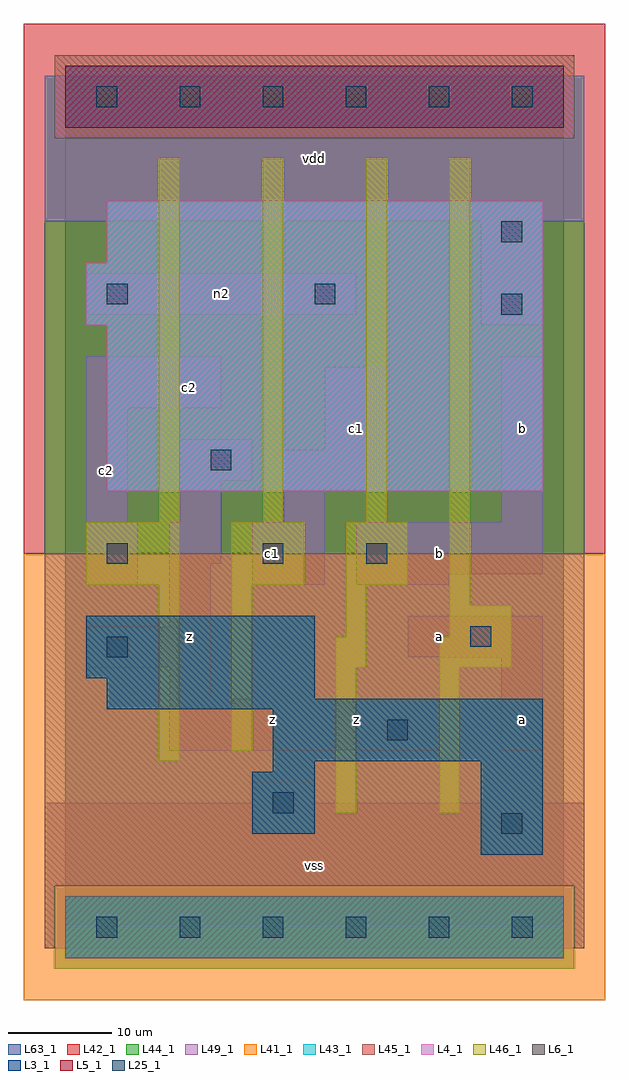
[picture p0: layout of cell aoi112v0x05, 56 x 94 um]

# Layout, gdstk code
import gdstk
lib = gdstk.Library(unit=1e-6, precision=1e-09)
def R(c, l, rs):  # rectangles x0, y0, x1, y1
    for r in rs: c.add(gdstk.rectangle(r[:2], r[2:], *l))
def A(c, l, x, y, w, h, nx, ny, dx, dy):  # array of equal rectangles
    R(c, l, [(x+i*dx, y+j*dy, x+i*dx+w, y+j*dy+h) for i in range(nx) for j in range(ny)])
L3_1 = (3, 1)
L4_1 = (4, 1)
L5_1 = (5, 1)
L6_1 = (6, 1)
L25_1 = (25, 1)
L41_1 = (41, 1)
L42_1 = (42, 1)
L43_1 = (43, 1)
L44_1 = (44, 1)
L45_1 = (45, 1)
L46_1 = (46, 1)
L49_1 = (49, 1)
L63_1 = (63, 1)

aoi112v0x05 = lib.new_cell('aoi112v0x05')
R(aoi112v0x05, L3_1, [(40,7,46,16), (18,9,24,15), (20,15,24,16), (20,16,46,21), (4,21,46,22), (4,22,24,24), (2,24,24,30)])
R(aoi112v0x05, L4_1, [(4,42,46,58), (2,58,46,64), (4,64,46,70)])
R(aoi112v0x05, L5_1, [(0,77,48,83)])
R(aoi112v0x05, L6_1, [(0,-3,48,3), (0,-3,48,3)])
A(aoi112v0x05, L25_1, 3, -1, 2, 2, 6, 2, 8, 80)
R(aoi112v0x05, L25_1, [(42,9,44,11), (20,11,22,13), (31,18,33,20), (4,26,6,28), (39,27,41,29), (4,35,6,37), (19,35,21,37), (29,35,31,37), (14,44,16,46), (42,59,44,61), (4,60,6,62), (24,60,26,62), (42,66,44,68)])
R(aoi112v0x05, L41_1, [(-4,-7,52,36)])
R(aoi112v0x05, L42_1, [(-4,36,52,87)])
R(aoi112v0x05, L43_1, [(0,-3,48,3), (40,7,46,16), (18,9,24,15), (20,15,24,16), (20,16,46,21), (4,21,46,22), (4,22,24,24), (2,24,24,30), (4,42,46,58), (2,58,46,64), (4,64,46,70), (0,77,48,83)])
R(aoi112v0x05, L44_1, [(-1,-4,49,4), (-2,36,50,76), (-2,76,-1,82), (49,76,50,82)])
R(aoi112v0x05, L45_1, [(-2,-2,-1,4), (49,-2,50,4), (-2,4,50,36), (-1,76,49,84)])
A(aoi112v0x05, L46_1, 9, 39, 2, 35, 3, 1, 10, 0)
R(aoi112v0x05, L46_1, [(26,11,28,25), (36,11,38,25), (9,16,11,33), (16,17,18,33), (26,25,29,28), (36,25,43,28), (27,28,29,33), (37,28,43,31), (37,31,39,74), (2,33,11,39), (16,33,23,39), (27,33,33,39)])
R(aoi112v0x05, L49_1, [(-2,-2,50,12), (18,12,24,14), (10,17,36,22), (42,17,46,26), (10,22,14,25), (2,25,14,29), (33,26,46,30), (10,29,14,35), (2,33,7,39), (18,33,25,39), (28,33,37,34), (28,34,46,39), (10,35,15,39), (2,39,6,50), (11,39,15,43), (21,39,25,42), (42,39,46,55), (21,42,31,46), (11,43,18,47), (25,46,31,54), (2,50,15,55), (40,58,46,68), (2,59,28,63), (-2,68,50,82)])
R(aoi112v0x05, L63_1, [(0,0,48,80)])
aoi112v0x05.add(gdstk.Label('c2', (4,44), layer=49, texttype=1))
aoi112v0x05.add(gdstk.Label('z', (12,28), layer=49, texttype=1))
aoi112v0x05.add(gdstk.Label('c2', (12,52), layer=49, texttype=1))
aoi112v0x05.add(gdstk.Label('vss', (24,6), layer=49, texttype=1))
aoi112v0x05.add(gdstk.Label('z', (20,20), layer=49, texttype=1))
aoi112v0x05.add(gdstk.Label('c1', (20,36), layer=49, texttype=1))
aoi112v0x05.add(gdstk.Label('n2', (15,61), layer=49, texttype=1))
aoi112v0x05.add(gdstk.Label('vdd', (24,74), layer=49, texttype=1))
aoi112v0x05.add(gdstk.Label('z', (28,20), layer=49, texttype=1))
aoi112v0x05.add(gdstk.Label('a', (36,28), layer=49, texttype=1))
aoi112v0x05.add(gdstk.Label('b', (36,36), layer=49, texttype=1))
aoi112v0x05.add(gdstk.Label('c1', (28,48), layer=49, texttype=1))
aoi112v0x05.add(gdstk.Label('a', (44,20), layer=49, texttype=1))
aoi112v0x05.add(gdstk.Label('b', (44,48), layer=49, texttype=1))

lib.write_gds('aoi112v0x05.gds')
